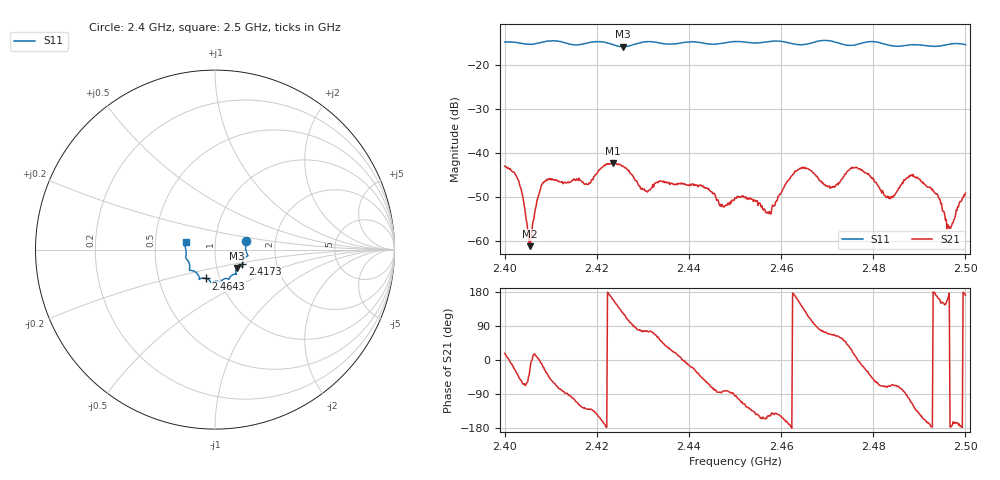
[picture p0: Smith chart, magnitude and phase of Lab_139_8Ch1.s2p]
# Hz S RI R 50
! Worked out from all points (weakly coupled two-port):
!   601 points, 2.4 GHz to 2.5 GHz, reference 50 ohm
!   highest |S21| = -42.39 dB at 2.4235 GHz (marker M1); lowest = -61.3 dB at 2.4055 GHz (marker M2)
!   lowest |S11| = -15.9 dB at 2.4257 GHz (marker M3), VSWR 1.38, Z = 62.4 - j13.1 ohm
!   |S11| at or under -10 dB: start of sweep to end of sweep
!   S12 and S22 are empty: the file has one direction only
!   S11 on the Smith chart (normalised r, x): 2.4 GHz: 1.41, +0.15; 2.4173 GHz: 1.34, -0.23; 2.4643 GHz: 0.86, -0.28; 2.5 GHz: 0.72, +0.06
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2.4e9  0.1734 0.0498  0.00669 0.00213  0 0  0 0
2.403e9  0.1736 0.035  0.00356 -0.0033  0 0  0 0
2.4055e9  0.1701 0.00736  0.000788 -0.000353  0 0  0 0
2.4085e9  0.1801 -0.025  0.00428 -0.00155  0 0  0 0
2.416667e9  0.153 -0.0746  -0.00262 -0.00395  0 0  0 0
2.417333e9  0.1524 -0.0819  -0.00255 -0.00356  0 0  0 0
2.4235e9  0.1409 -0.0932  -0.00713 0.00262  0 0  0 0
2.425667e9  0.1225 -0.1022  -0.00394 0.00585  0 0  0 0
2.4305e9  0.119 -0.1373  0.000936 0.00355  0 0  0 0
2.433333e9  0.1129 -0.137  0.00226 0.00395  0 0  0 0
2.447167e9  0.0393 -0.1704  0.000255 -0.00257  0 0  0 0
2.45e9  0.0294 -0.1808  -0.00025 -0.00305  0 0  0 0
2.457333e9  -0.0155 -0.182  -0.00173 -0.00106  0 0  0 0
2.464333e9  -0.0505 -0.1604  -0.00535 0.0038  0 0  0 0
2.466667e9  -0.0762 -0.1596  -0.0013 0.00602  0 0  0 0
2.471167e9  -0.087 -0.1621  0.00169 0.00376  0 0  0 0
2.476667e9  -0.1236 -0.1175  0.00659 -0.000109  0 0  0 0
2.483333e9  -0.1408 -0.0894  0.00111 -0.00282  0 0  0 0
2.489167e9  -0.1624 -0.0455  -0.00338 -0.00401  0 0  0 0
2.494e9  -0.1619 -0.00114  -0.00319 0.000882  0 0  0 0
2.4965e9  -0.1691 0.0235  -0.00144 7.88e-05  0 0  0 0
2.5e9  -0.1636 0.0421  -0.00342 0.000528  0 0  0 0
